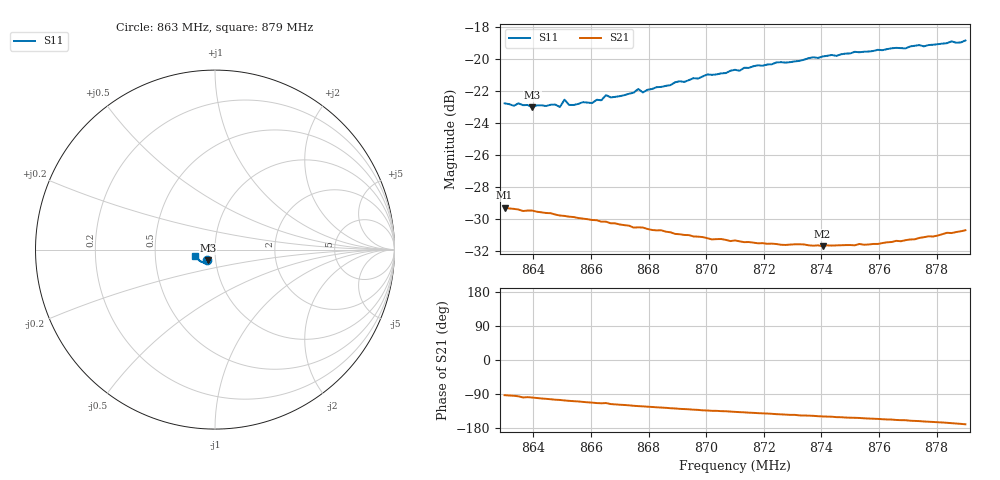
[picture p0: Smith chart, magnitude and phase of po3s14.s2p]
# HZ S RI R 50
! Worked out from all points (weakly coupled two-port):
!   101 points, 863 MHz to 879 MHz, reference 50 ohm
!   highest |S21| = -29.27 dB at 863 MHz (marker M1); lowest = -31.7 dB at 874.04 MHz (marker M2)
!   lowest |S11| = -23.0 dB at 863.96 MHz (marker M3), VSWR 1.15, Z = 46 - j5.46 ohm
!   |S11| at or under -10 dB: start of sweep to end of sweep
!   S12 and S22 are empty: the file has one direction only
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8.63e8  -0.0428 -0.0588  -0.00171 -0.0344  0 0  0 0
8.6348e8  -0.0421 -0.0593  -0.00347 -0.0338  0 0  0 0
8.6396e8  -0.0388 -0.0591  -0.00534 -0.0333  0 0  0 0
8.6476e8  -0.0382 -0.0612  -0.00835 -0.0316  0 0  0 0
8.6492e8  -0.037 -0.0604  -0.00864 -0.0313  0 0  0 0
8.6508e8  -0.0419 -0.0618  -0.00933 -0.031  0 0  0 0
8.6524e8  -0.0364 -0.062  -0.00986 -0.0307  0 0  0 0
8.6572e8  -0.0363 -0.0638  -0.0112 -0.0298  0 0  0 0
8.6604e8  -0.0357 -0.0636  -0.012 -0.0291  0 0  0 0
8.6636e8  -0.0379 -0.064  -0.0127 -0.0284  0 0  0 0
8.6652e8  -0.0374 -0.0675  -0.0125 -0.0285  0 0  0 0
8.6684e8  -0.0375 -0.0664  -0.014 -0.0273  0 0  0 0
8.6748e8  -0.0377 -0.0689  -0.0153 -0.0256  0 0  0 0
8.6764e8  -0.0412 -0.0693  -0.0157 -0.0254  0 0  0 0
8.678e8  -0.0397 -0.0679  -0.016 -0.0252  0 0  0 0
8.6844e8  -0.0419 -0.0703  -0.017 -0.0238  0 0  0 0
8.702e8  -0.0507 -0.0734  -0.019 -0.0197  0 0  0 0
8.71e8  -0.056 -0.0737  -0.0198 -0.0186  0 0  0 0
8.7372e8  -0.0735 -0.0697  -0.022 -0.0141  0 0  0 0
8.7404e8  -0.0762 -0.0675  -0.0223 -0.0135  0 0  0 0
8.7644e8  -0.0922 -0.0563  -0.0248 -0.0104  0 0  0 0
8.79e8  -0.1088 -0.035  -0.0288 -0.00525  0 0  0 0
